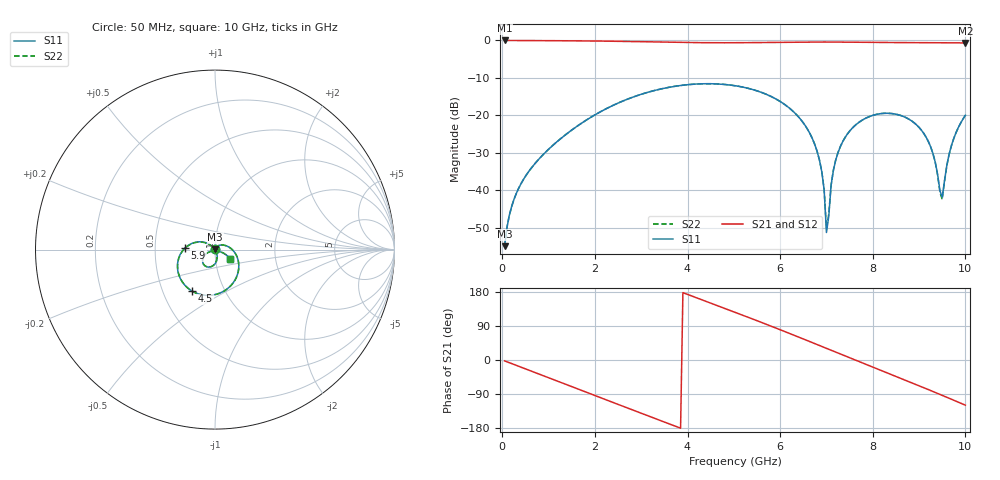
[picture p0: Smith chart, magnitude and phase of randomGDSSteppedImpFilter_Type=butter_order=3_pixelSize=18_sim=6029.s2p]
! freq	dB(S11)	phase(S11)	dB(S12)	phase(S12)
!  dB(S21)	phase(S21)	dB(S22)	phase(S22)
!S-par simulation data
#  GHz  S  DB  R 50
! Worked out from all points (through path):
!   200 points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, 50 MHz to 10 GHz, reference 50 ohm
!   highest |S21| = 0.00 dB at 50 MHz (marker M1); lowest = -0.7 dB at 10 GHz (marker M2)
!   group delay of S21, straight-line fit = 132 ps
!   lowest |S11| = -55.0 dB at 50 MHz (marker M3), VSWR 1.00, Z = 50 + j0.172 ohm
!   |S11| at or under -10 dB: start of sweep to end of sweep
!   |S22| runs from -55.0 to -11.6 dB; largest |S21 - S12| = 0
!   S11 on the Smith chart (normalised r, x): 50 MHz: 1.00, +0.00; 4.5 GHz: 0.70, -0.35; 5.9 GHz: 0.72, +0.01; 10 GHz: 1.18, -0.12
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0.05  -54.96 73.7  -0.00 -2.3  -0.00 -2.3  -54.97 73.8
0.2  -44.45 74.9  -0.02 -9.4  -0.02 -9.4  -44.45 75.0
0.5  -36.29 65.1  -0.03 -23.4  -0.03 -23.4  -36.29 65.2
1.75  -21.79 8.6  -0.12 -81.9  -0.12 -81.9  -21.79 8.9
2.5  -16.73 -26.7  -0.23 -117.1  -0.23 -117.1  -16.73 -26.4
3.4  -13.03 -68.7  -0.43 -159.1  -0.43 -159.1  -13.03 -68.4
4.5  -11.57 -118.9  -0.61 150.2  -0.61 150.2  -11.56 -118.6
5.05  -12.14 -144.0  -0.61 124.8  -0.61 124.8  -12.14 -143.6
5.9  -15.58 176.5  -0.50 84.7  -0.50 84.7  -15.58 177.1
6.7  -26.35 138.1  -0.42 45.6  -0.42 45.6  -26.35 139.9
6.9  -35.13 128.4  -0.42 35.7  -0.42 35.7  -35.11 133.2
6.95  -39.94 126.0  -0.42 33.2  -0.42 33.2  -39.87 134.3
7  -51.31 124.1  -0.42 30.8  -0.42 30.8  -50.14 155.7
7.15  -34.65 -64.0  -0.43 23.3  -0.43 23.3  -34.62 -68.2
7.35  -27.06 -73.6  -0.45 13.4  -0.45 13.4  -27.05 -75.3
7.75  -21.47 -92.9  -0.49 -6.3  -0.49 -6.3  -21.46 -93.6
8.35  -19.48 -121.3  -0.56 -35.8  -0.56 -35.8  -19.47 -121.8
9.15  -25.80 -155.4  -0.58 -75.6  -0.58 -75.6  -25.81 -156.1
9.35  -32.58 -154.9  -0.59 -85.7  -0.59 -85.7  -32.63 -156.4
9.5  -41.85 -74.3  -0.60 -93.3  -0.60 -93.3  -42.49 -73.3
9.7  -28.02 -22.5  -0.62 -103.6  -0.62 -103.6  -28.05 -21.7
10  -19.99 -31.2  -0.68 -119.2  -0.68 -119.2  -20.00 -30.8
